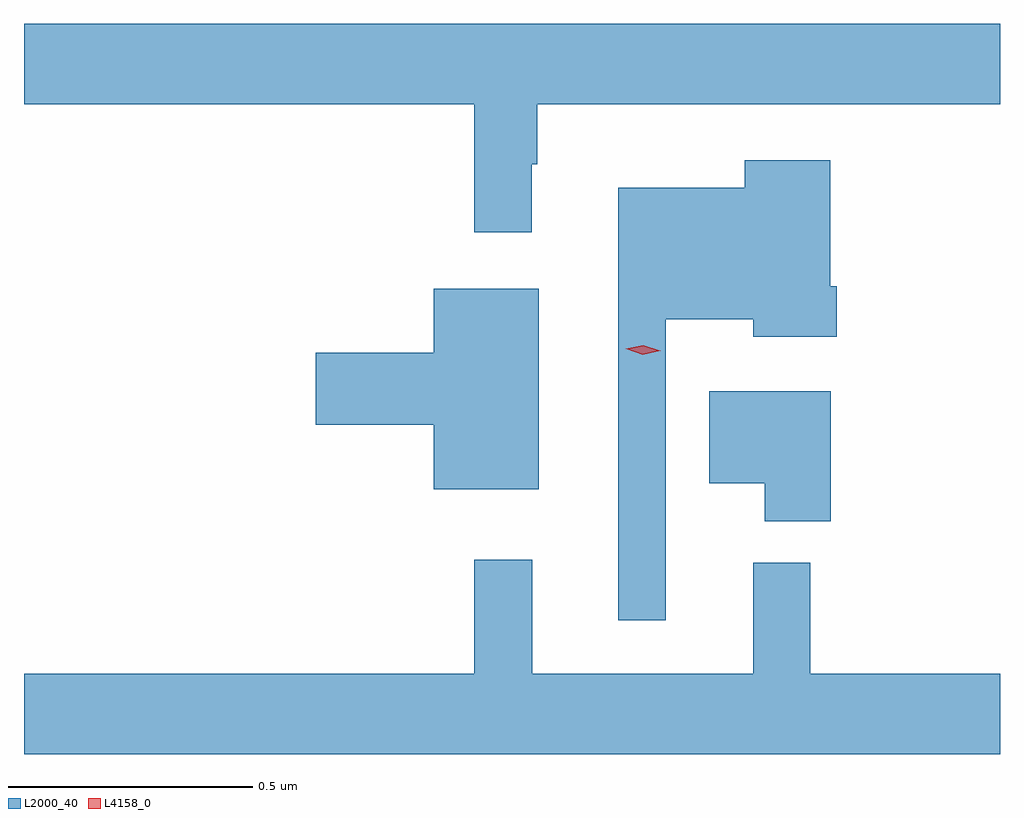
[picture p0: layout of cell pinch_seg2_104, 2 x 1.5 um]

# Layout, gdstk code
import gdstk
lib = gdstk.Library(unit=1e-6, precision=1e-09)
def P(c, l, *ps):  # polygons
    for p in ps: c.add(gdstk.Polygon(p, *l))
L2000_40 = (2000, 40)
L4158_0 = (4158, 0)

pinch_seg2_104 = lib.new_cell('pinch_seg2_104')
P(pinch_seg2_104, L2000_40, [(1077.31,639.521),(1077.322,639.521),(1077.322,639.644),(1078.27,639.644),(1078.27,639.808),(1076.27,639.808),(1076.27,639.644),(1077.193,639.644),(1077.193,639.381),(1077.31,639.381)],
  [(1077.585,639.203),(1077.764,639.203),(1077.764,639.167),(1077.935,639.167),(1077.935,639.271),(1077.922,639.271),(1077.922,639.529),(1077.747,639.529),(1077.747,639.472),(1077.488,639.472),(1077.488,638.586),(1077.585,638.586)],
  [(1077.325,639.265),(1077.11,639.265),(1077.11,639.134),(1076.868,639.134),(1076.868,638.987),(1077.11,638.987),(1077.11,638.855),(1077.325,638.855)],
  [(1077.923,639.055),(1077.674,639.055),(1077.674,638.867),(1077.788,638.867),(1077.788,638.789),(1077.923,638.789)],
  [(1078.27,638.476),(1077.881,638.476),(1077.881,638.704),(1077.764,638.704),(1077.764,638.476),(1077.311,638.476),(1077.311,638.71),(1077.193,638.71),(1077.193,638.476),(1076.27,638.476),(1076.27,638.312),(1078.27,638.312)])
P(pinch_seg2_104, L4158_0, [(1077.538,639.13),(1077.503,639.142),(1077.503,639.142),(1077.503,639.142),(1077.539,639.15),(1077.574,639.138),(1077.575,639.138),(1077.574,639.138)])

lib.write_gds('pinch_seg2_104.gds')
